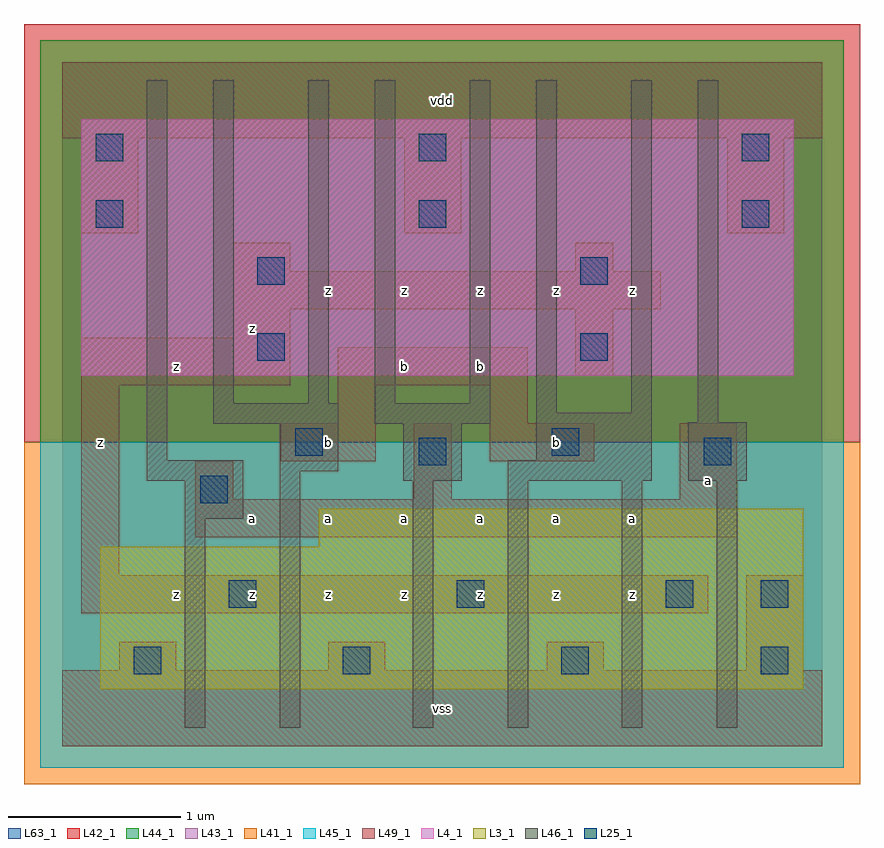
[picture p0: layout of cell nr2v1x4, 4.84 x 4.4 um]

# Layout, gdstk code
import gdstk
lib = gdstk.Library(unit=1e-6, precision=1e-09)
def R(c, l, rs):  # rectangles x0, y0, x1, y1
    for r in rs: c.add(gdstk.rectangle(r[:2], r[2:], *l))
def A(c, l, x, y, w, h, nx, ny, dx, dy):  # array of equal rectangles
    R(c, l, [(x+i*dx, y+j*dy, x+i*dx+w, y+j*dy+h) for i in range(nx) for j in range(ny)])
L3_1 = (3, 1)
L4_1 = (4, 1)
L25_1 = (25, 1)
L41_1 = (41, 1)
L42_1 = (42, 1)
L43_1 = (43, 1)
L44_1 = (44, 1)
L45_1 = (45, 1)
L46_1 = (46, 1)
L49_1 = (49, 1)
L63_1 = (63, 1)

nr2v1x4 = lib.new_cell('nr2v1x4')
R(nr2v1x4, L3_1, [(0.22,0.33,4.29,1.155), (1.485,1.155,4.29,1.375)])
R(nr2v1x4, L4_1, [(0.11,2.145,4.235,3.63)])
A(nr2v1x4, L25_1, 0.195, 3, 0.16, 0.16, 3, 2, 1.87, 0.385)
R(nr2v1x4, L25_1, [(0.415,0.415,0.575,0.575), (1.625,0.415,1.785,0.575), (2.89,0.415,3.05,0.575), (4.045,0.415,4.205,0.575), (0.965,0.8,1.125,0.96), (2.285,0.8,2.445,0.96), (3.495,0.8,3.655,0.96), (4.045,0.8,4.205,0.96), (0.8,1.405,0.96,1.565), (2.065,1.625,2.225,1.785), (3.715,1.625,3.875,1.785), (1.35,1.68,1.51,1.84), (2.835,1.68,2.995,1.84), (1.13,2.23,1.29,2.39), (3,2.23,3.16,2.39), (1.13,2.67,1.29,2.83), (3,2.67,3.16,2.83)])
R(nr2v1x4, L41_1, [(-0.22,-0.22,4.62,1.76)])
R(nr2v1x4, L42_1, [(-0.22,1.76,4.62,4.18)])
R(nr2v1x4, L43_1, [(0.22,0.33,4.29,1.155), (1.485,1.155,4.29,1.375), (0.11,2.145,4.235,3.63)])
R(nr2v1x4, L44_1, [(-0.125,1.76,4.525,4.085)])
R(nr2v1x4, L45_1, [(-0.125,-0.125,4.525,1.76)])
R(nr2v1x4, L46_1, [(0.71,0.105,0.83,1.315), (1.26,0.105,1.38,1.59), (2.03,0.105,2.15,1.535), (2.58,0.105,2.7,1.535), (3.24,0.105,3.36,1.535), (3.79,0.105,3.91,1.535), (0.71,1.315,1.05,1.535), (0.49,1.535,1.05,1.655), (1.975,1.535,2.315,1.865), (2.58,1.535,3.415,1.655), (3.625,1.535,3.965,1.875), (1.26,1.59,1.6,1.865), (0.49,1.655,0.61,3.855), (2.745,1.655,3.415,1.93), (0.875,1.865,1.6,1.985), (1.81,1.865,2.48,1.985), (3.68,1.875,3.8,3.855), (2.745,1.93,2.865,3.855), (3.295,1.93,3.415,3.855), (0.875,1.985,0.995,3.855), (1.425,1.985,1.545,3.855), (1.81,1.985,1.93,3.855), (2.36,1.985,2.48,3.855)])
A(nr2v1x4, L49_1, 0.11, 2.97, 0.33, 0.55, 3, 1, 1.87, 0)
R(nr2v1x4, L49_1, [(0,0,4.4,0.44), (0.33,0.44,0.66,0.605), (1.54,0.44,1.87,0.605), (2.805,0.44,3.135,0.605), (3.96,0.44,4.29,0.99), (0.11,0.77,3.74,0.99), (0.11,0.99,0.33,2.09), (0.77,1.21,3.905,1.43), (0.77,1.43,0.99,1.65), (2.035,1.43,2.255,1.87), (3.575,1.43,3.905,1.87), (1.265,1.65,1.815,1.87), (2.475,1.65,3.08,1.87), (1.595,1.87,1.815,2.09), (2.475,1.87,2.695,2.09), (0.11,2.09,1.32,2.365), (1.595,2.09,2.695,2.31), (2.97,2.145,3.19,2.53), (0.99,2.365,1.32,2.53), (0.99,2.53,3.465,2.75), (0.99,2.75,1.32,2.915), (2.97,2.75,3.19,2.915), (0,3.52,4.4,3.96)])
R(nr2v1x4, L63_1, [(0,0,4.4,3.96)])
nr2v1x4.add(gdstk.Label('z', (0.22,1.76), layer=49, texttype=1))
nr2v1x4.add(gdstk.Label('z', (1.1,0.88), layer=49, texttype=1))
nr2v1x4.add(gdstk.Label('z', (1.54,0.88), layer=49, texttype=1))
nr2v1x4.add(gdstk.Label('z', (0.66,0.88), layer=49, texttype=1))
nr2v1x4.add(gdstk.Label('a', (1.1,1.32), layer=49, texttype=1))
nr2v1x4.add(gdstk.Label('a', (1.54,1.32), layer=49, texttype=1))
nr2v1x4.add(gdstk.Label('b', (1.54,1.76), layer=49, texttype=1))
nr2v1x4.add(gdstk.Label('z', (0.66,2.2), layer=49, texttype=1))
nr2v1x4.add(gdstk.Label('z', (1.1,2.42), layer=49, texttype=1))
nr2v1x4.add(gdstk.Label('z', (1.54,2.64), layer=49, texttype=1))
nr2v1x4.add(gdstk.Label('vss', (2.2,0.22), layer=49, texttype=1))
nr2v1x4.add(gdstk.Label('z', (1.98,0.88), layer=49, texttype=1))
nr2v1x4.add(gdstk.Label('z', (2.42,0.88), layer=49, texttype=1))
nr2v1x4.add(gdstk.Label('a', (1.98,1.32), layer=49, texttype=1))
nr2v1x4.add(gdstk.Label('a', (2.42,1.32), layer=49, texttype=1))
nr2v1x4.add(gdstk.Label('b', (1.98,2.2), layer=49, texttype=1))
nr2v1x4.add(gdstk.Label('b', (2.42,2.2), layer=49, texttype=1))
nr2v1x4.add(gdstk.Label('z', (1.98,2.64), layer=49, texttype=1))
nr2v1x4.add(gdstk.Label('z', (2.42,2.64), layer=49, texttype=1))
nr2v1x4.add(gdstk.Label('vdd', (2.2,3.74), layer=49, texttype=1))
nr2v1x4.add(gdstk.Label('z', (3.3,0.88), layer=49, texttype=1))
nr2v1x4.add(gdstk.Label('z', (2.86,0.88), layer=49, texttype=1))
nr2v1x4.add(gdstk.Label('a', (2.86,1.32), layer=49, texttype=1))
nr2v1x4.add(gdstk.Label('a', (3.3,1.32), layer=49, texttype=1))
nr2v1x4.add(gdstk.Label('b', (2.86,1.76), layer=49, texttype=1))
nr2v1x4.add(gdstk.Label('z', (2.86,2.64), layer=49, texttype=1))
nr2v1x4.add(gdstk.Label('z', (3.3,2.64), layer=49, texttype=1))
nr2v1x4.add(gdstk.Label('a', (3.74,1.54), layer=49, texttype=1))

lib.write_gds('nr2v1x4.gds')
